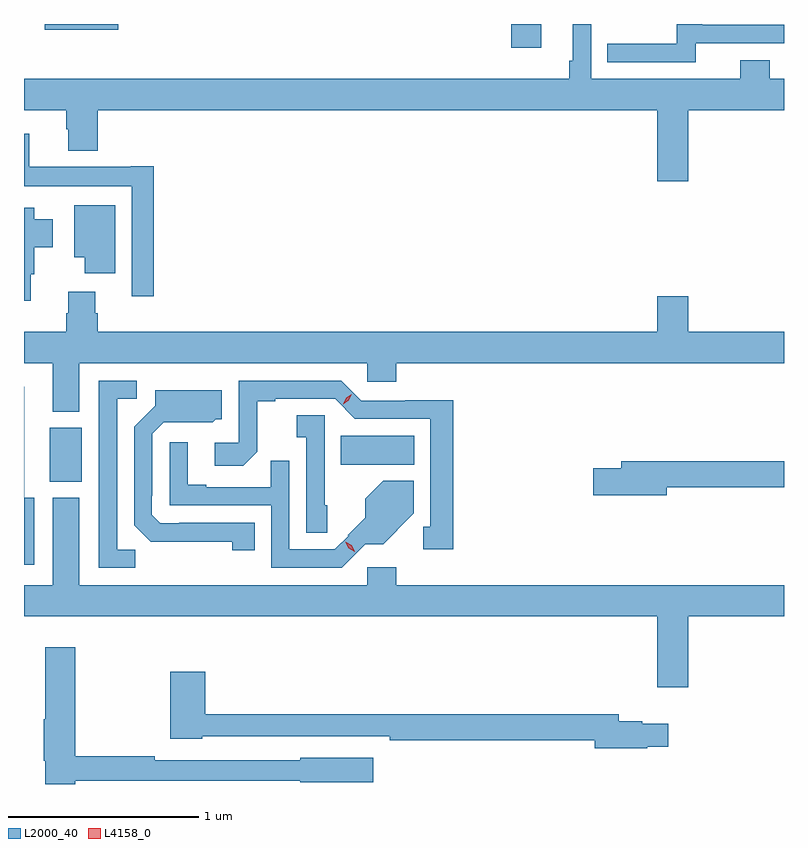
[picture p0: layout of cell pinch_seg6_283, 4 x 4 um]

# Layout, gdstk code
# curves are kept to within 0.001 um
import gdstk
lib = gdstk.Library(unit=1e-6, precision=1e-09)
def R(c, l, rs):  # rectangles x0, y0, x1, y1
    for r in rs: c.add(gdstk.rectangle(r[:2], r[2:], *l))
def P(c, l, *ps):  # polygons
    for p in ps: c.add(gdstk.Polygon(p, *l))
L2000_40 = (2000, 40)
L4158_0 = (4158, 0)

pinch_seg6_283 = lib.new_cell('pinch_seg6_283')
R(pinch_seg6_283, L2000_40, [(797.174,994.664,797.344,994.948), (798.706,994.754,799.093,994.906), (799.604,996.948,799.762,997.073), (797.148,997.043,797.536,997.073)])
P(pinch_seg6_283, L2000_40, [(800.536,996.62),(801.039,996.62),(801.039,996.784),(800.963,996.784),(800.963,996.883),(800.81,996.883),(800.81,996.784),(800.025,996.784),(800.025,997.073),(799.928,997.073),(799.928,996.88),(799.909,996.88),(799.909,996.784),(797.039,996.784),(797.039,996.62),(797.261,996.62),(797.261,996.519),(797.273,996.519),(797.273,996.407),(797.426,996.407),(797.426,996.62),(800.372,996.62),(800.372,996.246),(800.536,996.246)],
  [(800.574,996.972),(801.039,996.972),(801.039,997.068),(800.61,997.068),(800.61,997.073),(800.474,997.073),(800.474,996.969),(800.11,996.969),(800.11,996.873),(800.574,996.873)],
  [(797.723,996.325),(797.6,996.325),(797.6,996.322),(797.066,996.322),(797.066,996.496),(797.039,996.496),(797.039,996.218),(797.607,996.218),(797.607,995.64),(797.723,995.64)],
  [(797.518,996.118),(797.303,996.118),(797.303,995.846),(797.36,995.846),(797.36,995.76),(797.518,995.76)],
  [(797.074,995.757),(797.092,995.757),(797.092,995.899),(797.191,995.899),(797.191,996.046),(797.092,996.046),(797.092,996.106),(797.039,996.106),(797.039,995.616),(797.074,995.616)],
  [(797.329,995.288),(798.846,995.288),(798.846,995.19),(798.998,995.19),(798.998,995.288),(801.039,995.288),(801.039,995.452),(800.536,995.452),(800.536,995.641),(800.372,995.641),(800.372,995.452),(797.426,995.452),(797.426,995.55),(797.413,995.55),(797.413,995.665),(797.273,995.665),(797.273,995.55),(797.261,995.55),(797.261,995.452),(797.039,995.452),(797.039,995.288),(797.189,995.288),(797.189,995.033),(797.329,995.033)],
  [(799.297,995.093),(799.046,995.093),(799.046,995.091),(798.813,995.091),(798.708,995.196),(798.168,995.196),(798.168,994.869),(798.042,994.869),(798.042,994.748),(798.192,994.748),(798.267,994.823),(798.267,995.088),(798.361,995.088),(798.361,995.1),(798.676,995.1),(798.781,994.995),(799.178,994.995),(799.178,994.428),(799.14,994.428),(799.14,994.308),(799.297,994.308)],
  [(797.625,994.307),(797.529,994.307),(797.529,995.1),(797.632,995.1),(797.632,995.196),(797.433,995.196),(797.433,994.212),(797.625,994.212)],
  [(797.092,994.579),(797.041,994.579),(797.041,995.164),(797.039,995.164),(797.039,994.227),(797.092,994.227)],
  [(798.254,994.449),(797.857,994.449),(797.857,994.446),(797.757,994.446),(797.712,994.491),(797.712,994.591),(797.715,994.591),(797.715,994.917),(797.775,994.977),(798.032,994.976),(798.048,994.992),(798.079,994.992),(798.079,995.146),(797.729,995.146),(797.729,995.064),(797.619,994.954),(797.619,994.434),(797.705,994.348),(798.136,994.348),(798.136,994.302),(798.254,994.302)],
  [(798.635,994.539),(798.621,994.539),(798.621,995.015),(798.474,995.015),(798.474,994.897),(798.525,994.897),(798.525,994.395),(798.635,994.395)],
  [(798.835,994.335),(798.931,994.335),(799.004,994.408),(799.002,994.409),(799.09,994.497),(799.09,994.669),(798.931,994.669),(798.836,994.574),(798.836,994.475),(798.744,994.383),(798.747,994.38),(798.675,994.308),(798.435,994.308),(798.435,994.774),(798.337,994.774),(798.337,994.635),(797.998,994.635),(797.998,994.648),(797.902,994.648),(797.902,994.873),(797.805,994.873),(797.805,994.539),(798.339,994.539),(798.339,994.212),(798.712,994.212)],
  [(800.422,994.636),(801.039,994.636),(801.039,994.772),(800.183,994.772),(800.183,994.736),(800.034,994.736),(800.034,994.594),(800.422,994.594)],
  [(800.536,993.956),(801.039,993.956),(801.039,994.12),(798.998,994.12),(798.998,994.213),(798.846,994.213),(798.846,994.12),(797.329,994.12),(797.329,994.579),(797.189,994.579),(797.189,994.12),(797.039,994.12),(797.039,993.956),(800.372,993.956),(800.372,993.582),(800.536,993.582)],
  [(797.309,993.09),(798.492,993.09),(798.492,993.082),(798.877,993.082),(798.877,993.211),(798.492,993.211),(798.492,993.198),(797.726,993.198),(797.726,993.218),(797.309,993.218),(797.309,993.793),(797.15,993.793),(797.15,993.413),(797.143,993.413),(797.143,993.195),(797.15,993.195),(797.15,993.073),(797.309,993.073)],
  [(800.318,993.269),(800.431,993.269),(800.431,993.391),(800.292,993.391),(800.292,993.404),(800.17,993.404),(800.17,993.44),(797.993,993.44),(797.993,993.664),(797.81,993.664),(797.81,993.311),(797.976,993.311),(797.976,993.324),(798.964,993.324),(798.964,993.304),(800.042,993.304),(800.042,993.262),(800.318,993.262)])
P(pinch_seg6_283, L4158_0, [(798.779,994.296),(798.748,994.315),(798.731,994.347),(798.731,994.347),(798.731,994.347),(798.763,994.329),(798.78,994.297),(798.78,994.296)],
  [(798.718,995.073),(798.718,995.073),(798.734,995.105),(798.763,995.125),(798.764,995.125),(798.764,995.125),(798.749,995.092),(798.719,995.073)])

lib.write_gds('pinch_seg6_283.gds')
